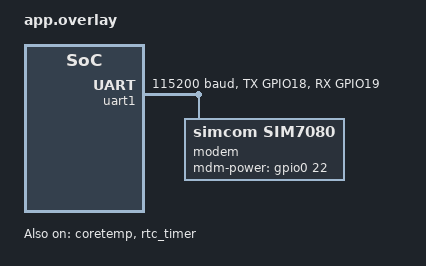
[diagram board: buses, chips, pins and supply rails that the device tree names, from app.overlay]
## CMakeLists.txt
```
# SPDX-License-Identifier: Apache-2.0
#
# Zephyr_A - Project A (Industrial IoT, Micro Technic)
# HP-core application for ESP32-C6-DevKitC.

cmake_minimum_required(VERSION 3.20.0)

find_package(Zephyr REQUIRED HINTS $ENV{ZEPHYR_BASE})
project(zephyr_a LANGUAGES C)

# One .c/.h pair per module (docs/02-arkitektur.md).
target_sources(app PRIVATE
    src/main.c
    src/device_info.c
    src/timesync.c
    src/sensor.c
    src/modbus.c
    src/app_logic.c
    src/sparkplug.c
    src/mqtt_client.c
    src/tls_ca.c
    src/network.c
    src/power.c
    src/health.c
    src/uplink.c
    src/soc_log.c
    src/security.c
    # Sparkplug B protobuf (nanopb), generated by scripts/gen_sparkplug_pb.py
    # from app/proto/sparkplug_b.proto and committed
    src/proto/sparkplug_b.pb.c
)

target_include_directories(app PRIVATE src common)

# Part 9: the LP-core image (app/remote, built first by sysbuild) is checked
# against this hash at boot (power.c).
if(CONFIG_APP_LPCORE)
  include(${CMAKE_CURRENT_SOURCE_DIR}/cmake/lp_image.cmake)
  zephyr_a_add_lp_image_hash(app
      ${CMAKE_BINARY_DIR}/../zephyr_a_lpcore/zephyr/zephyr.bin)
endif()

# Mbed TLS user configuration (CONFIG_MBEDTLS_USER_CONFIG_FILE) must be on the
# include path of the Mbed TLS library, not only of the app.
zephyr_include_directories(config)

# Trusted root CAs for the MQTT broker certificate (public certificates,
# see app/ca/README.md). Order = order of the TLS security tags.
include(${CMAKE_CURRENT_SOURCE_DIR}/cmake/ca_certs.cmake)
zephyr_a_add_ca_certs(app
    ${CMAKE_CURRENT_SOURCE_DIR}/ca/isrg-root-ye.der
    ${CMAKE_CURRENT_SOURCE_DIR}/ca/isrg-root-yr.der
    ${CMAKE_CURRENT_SOURCE_DIR}/ca/isrg-root-x2.der
    ${CMAKE_CURRENT_SOURCE_DIR}/ca/isrg-root-x1.der
)

# Part 10: client certificate + key (mTLS), selected by build.ps1 -Mtls
if(CONFIG_APP_MQTT_MTLS)
  include(${CMAKE_CURRENT_SOURCE_DIR}/cmake/client_cert.cmake)
  zephyr_a_add_client_cert(app ${CONFIG_APP_MQTT_CLIENT_CERT_FILE}
                               ${CONFIG_APP_MQTT_CLIENT_KEY_FILE})
endif()
```

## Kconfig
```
# Zephyr_A - application Kconfig
#
# Project-specific settings. Values are set in prj.conf (and secrets in
# secrets.conf). Thread priorities/stacks are documented in
# docs/02-arkitektur.md, section "Thread-tabel".
#
# SPDX-License-Identifier: Apache-2.0

menu "Zephyr_A application"

module = APP
module-str = Zephyr_A application
source "subsys/logging/Kconfig.template.log_config"

menu "Data acquisition"

config APP_SAMPLE_INTERVAL_MS
	int "Sampling interval [ms]"
	range 5000 15000
	default 10000
	help
	  Fixed sampling interval. The requirement allows 5-15 s; the range
	  makes it impossible to build a firmware outside the requirement.

config APP_BATCH_SIZE
	int "Samples per MQTT publish (batching)"
	range 1 12
	default 6
	help
	  Number of samples collected before one Sparkplug B DDATA message is
	  sent. 6 x 10 s = one message per minute. Must be <= APP_BATCH_MAX.

config APP_BATCH_MAX
	int
	default 12
	help
	  Compile-time capacity of struct sample_batch.

config APP_SAMPLE_QUEUE_LEN
	int "Length of the measurement queue (sensor -> app_logic)"
	default 16
	help
	  16 x 10 s = 160 s of buffering if app_logic is blocked.

config APP_SOURCE_DIE_TEMP
	bool "Read the ESP32-C6 internal temperature sensor (coretemp)"
	default y
	help
	  Uses the Zephyr sensor API on the devicetree node "coretemp"
	  (espressif,esp32-temp), channel SENSOR_CHAN_DIE_TEMP.

config APP_SENSOR_RETRY_DELAY_MS
	int "Delay before the single retry of a failed sensor read [ms]"
	default 20

config APP_SENSOR_SIMULATION
	bool "Generate simulated values (test without hardware)"
	help
	  All channels (internal temperature and Modbus registers) are
	  generated in software. No sensor or Modbus hardware is accessed, but
	  the rest of the chain (timer, queue, quality flags, retry/backoff)
	  runs exactly as with real hardware. Enable with
	  scripts\build.ps1 -Simulation (adds app/overlay-sim.conf).

config APP_SENSOR_SIM_FAULT_EVERY
	int "Simulate a read error every N-th cycle (0 = never)"
	depends on APP_SENSOR_SIMULATION
	default 0
	help
	  Makes the simulated Modbus transaction fail with -ETIMEDOUT in every
	  N-th cycle (and the internal temperature read with -EIO), to test
	  error logging, retry, backoff and the quality flag.

menuconfig APP_MODBUS_RTU
	bool "Modbus RTU client (RS485)"
	depends on MODBUS_ROLE_CLIENT || MODBUS_ROLE_CLIENT_SERVER || APP_SENSOR_SIMULATION
	help
	  Poll a Modbus RTU slave on the interface defined by the devicetree
	  node with compatible "zephyr,modbus-serial" (app/modbus-rtu.overlay).
	  The register table (address, function, scaling) is in modbus.c.
	  Enable with scripts\build.ps1 -ModbusRtu (adds app/overlay-modbus-rtu.conf).

if APP_MODBUS_RTU

config APP_MODBUS_SLAVE_ADDR
	int "Slave (unit) address"
	range 1 247
	default 1

config APP_MODBUS_BAUDRATE
	int "Baud rate"
	default 9600

choice APP_MODBUS_PARITY
	prompt "Parity"
	default APP_MODBUS_PARITY_EVEN
	help
	  Zephyr's RTU client is standard compliant: even/odd parity uses
	  1 stop bit, no parity uses 2 stop bits. The slave (e.g. ModbusTools
	  or Modbus Slave on the PC) must use the same setting.

config APP_MODBUS_PARITY_EVEN
	bool "Even (8E1) - Modbus default"

config APP_MODBUS_PARITY_ODD
	bool "Odd (8O1)"

config APP_MODBUS_PARITY_NONE
	bool "None (8N2)"

endchoice

config APP_MODBUS_RESP_TIMEOUT_MS
	int "Response timeout per request [ms]"
	default 300

config APP_MODBUS_RETRIES
	int "Retries per request after the first attempt"
	range 0 5
	default 2

config APP_MODBUS_RETRY_BACKOFF_MS
	int "Delay before the first retry [ms] (doubled for each retry)"
	default 100

config APP_MODBUS_MAX_SKIP_CYCLES
	int "Max number of sampling cycles skipped after repeated failures"
	default 8
	help
	  After n consecutive failed cycles the slave is not polled for
	  min(2^(n-1) - 1, this value) cycles (values are marked "stale").
	  This avoids filling the bus and the log while a slave is offline.

endif # APP_MODBUS_RTU

endmenu

menu "Sparkplug B"

config APP_SPARKPLUG_GROUP_ID
	string "Sparkplug group id"
	default "ProjektA"
	help
	  Topic: spBv1.0/<group_id>/<msg_type>/<edge_node_id>[/<device_id>].
	  The edge node id is derived from the hardware id (device_info).

config APP_SPARKPLUG_BATCH_QUEUE_LEN
	int "Batches waiting for the MQTT session (app_logic -> sparkplug)"
	default 24 if APP_UPLINK_INTERVAL
	default 4
	help
	  While MQTT is down, batches are kept here (not encoded) and sent
	  after the next BIRTH. 4 x 6 x 10 s = 4 minutes of data. Each slot is
	  one struct measurement_batch (~680 B). In interval mode (part 9) the
	  queue holds the data between two uplinks: 24 slots x 12 x 10 s = 48
	  minutes with overlay-lowpower.conf; an uplink starts early when the
	  queue is 3/4 full, so no data is lost.

config APP_SPARKPLUG_STATUS_INTERVAL_S
	int "NDATA with Status/RSSI, Status/Uptime, Status/MQTT Connects every N s (0 = never)"
	default 900
	help
	  About 60 B every 15 minutes. The same metrics are always in NBIRTH.

config APP_SPARKPLUG_REBOOT_MIN_UPTIME_S
	int "Reject NCMD Node Control/Reboot during the first N s after boot"
	default 60
	help
	  Reboot-loop protection: a faulty or compromised host application that
	  repeats the reboot command cannot keep the device from ever working
	  (availability, IEC 62443-4-2 CR 7.1). 0 = no limit.

config APP_SPARKPLUG_DEVICE_ID
	string "Sparkplug device id for the on-board sensors"
	default "sensors"

endmenu

menu "Cellular network"

config APP_NET_AUTOSTART
	bool "Bring the cellular link up automatically at boot"
	default y

config APP_NET_CONNECT_TIMEOUT_S
	int "Max time from modem start to a working IP link [s]"
	default 180
	help
	  Covers modem start-up, network search/registration (first
	  registration on LTE-M can take minutes), PPP and DNS. After the
	  timeout the modem is restarted with backoff.

config APP_NET_RECONNECT_GRACE_S
	int "Time the driver gets to re-establish a lost link before a restart [s]"
	default 60

config APP_NET_BACKOFF_MIN_S
	int "First backoff delay before restarting the modem [s]"
	default 30

config APP_NET_BACKOFF_MAX_S
	int "Max backoff delay [s] (delay doubles after each failure)"
	default 900

config APP_NET_STATUS_INTERVAL_S
	int "Interval for the periodic network status log while connected [s]"
	default 60

config APP_NET_CHECK_HOST
	string "Host used for the connectivity check (DNS lookup)"
	default APP_MQTT_BROKER_HOST
	help
	  After PPP is up the host name is resolved with DNS. This proves
	  that IP and DNS through the operator work.

config APP_NET_CHECK_PORT
	int "TCP port for the connectivity check (0 = DNS only)"
	default 80
	help
	  A TCP connect to this port of APP_NET_CHECK_HOST proves end-to-end
	  IP to the own server. 80 = nginx on the Webdock LEMP image. A
	  failed TCP connect is logged as a warning only (e.g. firewall).

config APP_NET_CMUX_RECOVERY
	bool "Send a CMUX close-down frame before starting the modem"
	default y
	help
	  The modem keeps its 5 V supply when the ESP32-C6 is reset (e.g. by
	  flashing) and may still be in CMUX mode. It then does not answer
	  plain AT commands and the driver's init script fails forever,
	  because the module has no PWRKEY/RESET pin. A 3GPP TS 27.010 CLD
	  frame returns it to AT command mode; in AT mode it is ignored.

endmenu

menu "Security (part 8)"

config APP_SECURITY_SAR_ENTROPY
	bool "Keep the SAR ADC entropy source of the hardware RNG enabled"
	default y
	depends on SOC_SERIES_ESP32C6
	help
	  Without Wi-Fi/BT/802.15.4 the ESP32-C6 RNG only produces true random
	  numbers while the SAR ADC noise source is enabled (Espressif "Random
	  Number Generation"). Zephyr enables it only while loading the image.
	  The application uses no ADC, so it stays enabled. Cost: the SAR ADC
	  runs continuously (measured in part 9).

endmenu

menu "Low power (part 9)"

choice APP_UPLINK_MODE
	prompt "When the cellular link is used"
	default APP_UPLINK_CONTINUOUS
	help
	  The modem is by far the largest consumer (docs/09-strom-data.md).
	  Measurements are taken every APP_SAMPLE_INTERVAL_MS in both modes.

config APP_UPLINK_CONTINUOUS
	bool "Continuous: modem and MQTT session always on"
	help
	  Data arrives in Node-RED every minute and NCMD commands take effect
	  at once. The modem stays registered, and the HP core cannot use
	  light sleep while the modem UART is active (no flow control, a byte
	  arriving during light sleep would be lost).

config APP_UPLINK_INTERVAL
	bool "Interval: modem on only for an uplink every APP_UPLINK_INTERVAL_S"
	help
	  Batches are kept in RAM. Every APP_UPLINK_INTERVAL_S (or when the
	  batch queue is 3/4 full) the modem is started, the MQTT/TLS session
	  is opened, NBIRTH/DBIRTH and all queued DDATA (with their original
	  timestamps, is_historical) are sent, the node says NDEATH and
	  disconnects cleanly, and the modem radio is switched off
	  (AT+CFUN=0). Between uplinks the HP core is in light sleep except for
	  the short measurements. NCMD is only received during an uplink.

endchoice

config APP_UPLINK_INTERVAL_S
	int "Interval between uplinks [s]"
	depends on APP_UPLINK_INTERVAL
	range 60 3600
	default 1800
	help
	  Trade-off: every uplink costs one full TLS handshake (~5 kB) plus
	  modem attach time, so very short intervals cost more data than
	  continuous mode; long intervals delay data and commands.

config APP_UPLINK_LINGER_S
	int "Stay connected this long after the queue is empty [s]"
	depends on APP_UPLINK_INTERVAL
	default 10
	help
	  Gives the host application time to send NCMD after it has seen the
	  NBIRTH (e.g. queued configuration changes).

config APP_UPLINK_TIMEOUT_S
	int "Give up an uplink after this time without success [s]"
	depends on APP_UPLINK_INTERVAL
	default 240
	help
	  Covers modem start, registration, PPP, SNTP, TLS and BIRTH. On a
	  timeout the modem is switched off again and the data stays queued
	  until the next uplink.

config APP_UPLINK_THREAD_PRIO
	int "Uplink thread priority"
	depends on APP_UPLINK_INTERVAL
	default 9

config APP_UPLINK_THREAD_STACK
	int "Uplink thread stack size"
	depends on APP_UPLINK_INTERVAL
	default 1536

config APP_POWER_LIGHT_SLEEP
	bool "Allow light sleep of the HP core when no UART transfer can happen"
	default y
	depends on PM
	help
	  Light sleep is allowed only while the modem is stopped and no
	  measurement is in progress (power.c sleep locks). In continuous mode
	  the modem always runs, so light sleep is in practice used only in
	  interval mode.

config APP_MODEM_RADIO_OFF
	bool "Switch the modem radio off (AT+CFUN=0) when the link is stopped"
	default y
	help
	  The SIM7080G on the M5Stack unit has no PWRKEY pin, so it cannot be
	  powered down and up again by the ESP32-C6. Minimum functionality
	  mode switches off RF and SIM. The driver sets AT+CFUN=1 again when
	  the modem is resumed.

config APP_MODEM_EDRX
	string "eDRX value for AT+CEDRXS (4-bit string, empty = eDRX off)"
	default ""
	help
	  Requested extended DRX cycle for LTE-M (3GPP TS 27.007, e.g. "0101"
	  = 81.92 s). Only useful in continuous mode; the network decides
	  whether it is granted. Commands from the server are then delayed by
	  up to one cycle. Empty: AT+CEDRXS=0.

config APP_LPCORE
	bool "Use the LP core (app/remote): deep-sleep wake-up and supervisor"
	default y
	depends on ESP32_ULP_COPROC_ENABLED
	help
	  The LP-core image (app/remote) is loaded by Zephyr at boot. power.c
	  sets up the memory shared with it (app/common/lp_shared.h).

config APP_LPCORE_WATCHDOG_S
	int "LP-core supervisor: reset the HP core after N s without a processed measurement (0 = off)"
	depends on APP_LPCORE
	range 0 3600
	default 120
	help
	  app_logic gives a heartbeat for every processed measurement (every
	  5-15 s). Must be clearly longer than the sample interval.

config APP_SLEEP_MIN_S
	int "Shortest deep sleep accepted from NCMD Node Control/Sleep [s]"
	default 60

config APP_SLEEP_MAX_S
	int "Longest deep sleep accepted from NCMD Node Control/Sleep [s]"
	default 86400

endmenu

menu "Health: task watchdog (part 10)"

config APP_HEALTH
	bool "Task watchdog for the application threads"
	default y
	select TASK_WDT
	help
	  Every application thread has a task watchdog channel; the time a
	  thread is busy between two waits must stay below
	  APP_HEALTH_TIMEOUT_S, otherwise the chip is reset and the stuck
	  thread is reported at the next boot (health.h). The hardware
	  watchdog wdt0 (alias watchdog0) is the fallback for a stuck kernel.

config APP_HEALTH_TIMEOUT_S
	int "Longest time a thread may be busy without feeding [s]"
	depends on APP_HEALTH
	range 30 3600
	default 180
	help
	  Longest legitimate busy phases: modem suspend (up to 30 s in the
	  driver), DNS + TLS handshake + CONNACK over LTE-M (up to ~70 s),
	  a Modbus read with retries. 180 s leaves margin.

# One task watchdog channel per thread (health.h), plus spare
config TASK_WDT_CHANNELS
	default 8 if APP_HEALTH

config APP_HEALTH_REBOOT
	bool "Reset the chip when a thread is stuck"
	depends on APP_HEALTH
	default y
	help
	  Disable only in tests: the timeout is then counted and logged.

endmenu

menu "Time synchronisation (SNTP)"

config APP_TIMESYNC_SERVER1
	string "First SNTP server (host[:port])"
	default "pool.ntp.org"

config APP_TIMESYNC_SERVER2
	string "Second SNTP server, tried if the first fails (empty = none)"
	default "time.cloudflare.com"

config APP_TIMESYNC_TIMEOUT_MS
	int "Timeout per SNTP request [ms]"
	default 4000
	help
	  One UDP request/response (96 B in total) over LTE-M. A cold radio
	  link can need more than one second for the first packet.

config APP_TIMESYNC_RESYNC_H
	int "Resynchronise every N hours (0 = only at start-up)"
	default 24
	help
	  The ESP32-C6 crystal drifts by a few seconds per day at most, so one
	  SNTP request per day (96 B) is enough for 1-second timestamps.

endmenu

menu "Cloud / MQTT"

config APP_MQTT_BROKER_HOST
	string "MQTT broker host name"
	default "zephyra.vps.webdock.cloud"
	help
	  Resolved with DNS and also used for the TLS host name check: the
	  broker certificate must contain this name (subjectAltName).

config APP_MQTT_BROKER_PORT
	int "MQTT broker port (TLS)"
	default 8884 if APP_MQTT_MTLS
	default 8883
	help
	  8883: user name + password. 8884: client certificate (mTLS,
	  part 10, cloud/mosquitto/zephyr_a_mtls.conf).

config APP_MQTT_MTLS
	bool "Authenticate with a client certificate instead of a password (mTLS)"
	help
	  The device proves its identity with an ECDSA P-256 key and a
	  certificate (CN = device id) issued by the own device CA
	  (scripts/device_pki.py). Mosquitto uses the CN as user name, so the
	  existing ACL applies unchanged. No password is sent or stored.
	  Enabled by scripts/build.ps1 -Mtls (writes certs/mtls.conf).

config APP_MQTT_CLIENT_CERT_FILE
	string "Client certificate (DER)"
	depends on APP_MQTT_MTLS
	help
	  Absolute path, e.g. certs/device-pki/devices/<id>.crt.der.

config APP_MQTT_CLIENT_KEY_FILE
	string "Client private key (PKCS#8 DER)"
	depends on APP_MQTT_MTLS
	help
	  Absolute path, e.g. certs/device-pki/devices/<id>.key.der. Secret:
	  stays in certs/ (ignored by git) and the build directory.

config APP_MQTT_CLIENT_SEC_TAG
	int "TLS security tag of the client certificate and key"
	depends on APP_MQTT_MTLS
	default 99

config APP_MQTT_USERNAME
	string "MQTT user name (empty = device id)"
	default ""
	help
	  Empty: the device id (e.g. esp32c6-14c19fe0ab24) is used. The broker
	  ACL (cloud/mosquitto/acl) only lets a client publish below its own
	  user name, so the user name must be the Sparkplug edge node id.

config APP_MQTT_PASSWORD
	string "MQTT password (set in secrets.conf)"
	default ""
	help
	  Set only in app/secrets.conf (ignored by git). The client refuses to
	  start without a password (or mTLS): the broker has no anonymous
	  access. Not used with APP_MQTT_MTLS.

config APP_MQTT_KEEPALIVE_S
	int "MQTT keep-alive [s]"
	range 60 3600
	default 1200
	help
	  Long keep-alive = fewer PINGREQ packets = less data and less radio-on
	  time. Data is published every minute anyway, which also counts as
	  activity. Mosquitto disconnects a client after 1.5 x keep-alive
	  without traffic. Tuned in the low-power part.

config APP_MQTT_PINGRESP_TIMEOUT_S
	int "Max wait for PINGRESP before the connection is considered dead [s]"
	default 30

config APP_MQTT_CONNACK_TIMEOUT_S
	int "Max wait for CONNACK after the TLS handshake [s]"
	default 30

config APP_MQTT_BACKOFF_MIN_S
	int "First reconnect delay [s]"
	default 10

config APP_MQTT_BACKOFF_MAX_S
	int "Max reconnect delay [s] (delay doubles after each failure)"
	default 600
	help
	  Errors that will not go away by themselves (wrong password, ACL,
	  certificate verification) jump directly to this delay, so a
	  misconfigured device does not burn data with TLS handshakes.

config APP_MQTT_STABLE_S
	int "A connection must last this long before the backoff is reset [s]"
	default 60
	help
	  Prevents fast reconnect loops when the broker accepts the
	  connection but closes it right away (e.g. ACL or duplicate id).

config APP_MQTT_TX_QUEUE_LEN
	int "Publish queue length (messages)"
	default 4
	help
	  Messages wait here while the link is down. The payload buffer pool
	  has one block more than the queue (one block is being encoded).

config APP_MQTT_TLS_SEC_TAG_BASE
	int "First TLS security tag used for the CA certificates"
	default 100
	help
	  Each trusted root CA (app/ca/*.der) gets its own tag, starting here.

endmenu

menu "Threads"

config APP_SENSOR_THREAD_PRIO
	int "Sensor thread priority"
	default 4

config APP_SENSOR_THREAD_STACK
	int "Sensor thread stack size"
	default 1536

config APP_NETWORK_THREAD_PRIO
	int "Network thread priority"
	default 5

config APP_NETWORK_THREAD_STACK
	int "Network thread stack size"
	default 2048

config APP_MQTT_THREAD_PRIO
	int "MQTT thread priority"
	default 6

config APP_MQTT_THREAD_STACK
	int "MQTT thread stack size"
	default 8192
	help
	  The TLS handshake (Mbed TLS: certificate chain verification with
	  ECDSA P-384 / RSA-4096, ECDHE) runs in this thread. The thread logs
	  its peak stack use after the first connect (part 6 measurement).

config APP_LOGIC_THREAD_PRIO
	int "App logic thread priority"
	default 7

config APP_LOGIC_THREAD_STACK
	int "App logic thread stack size"
	default 1536

config APP_SPARKPLUG_THREAD_PRIO
	int "Sparkplug thread priority"
	default 8

config APP_SPARKPLUG_THREAD_STACK
	int "Sparkplug thread stack size"
	default 4096
	help
	  nanopb encoding (one Metric struct of 148 B at a time, callbacks) and
	  the index list of a batch (up to 48 values).

endmenu

endmenu

source "Kconfig.zephyr"
```

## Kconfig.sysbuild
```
# Zephyr_A - sysbuild Kconfig
#
# Sysbuild builds several images in one go: the MCUboot bootloader (default
# for esp32c6_devkitc), the HP-core application and the LP-core image in
# remote/ (part 9).
#
# SPDX-License-Identifier: Apache-2.0

source "share/sysbuild/Kconfig"

config ULP_REMOTE_BOARD
	string
	default "esp32c6_devkitc/esp32c6/lpcore" if $(BOARD) = "esp32c6_devkitc"
	help
	  Board target of the LP-core image (app/remote), as in Zephyr's
	  samples/boards/espressif/ulp/lp_core/*.
```

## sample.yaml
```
sample:
  name: Zephyr_A Project A (ESP32-C6 cellular IIoT node)
  description: >
    ESP32-C6-DevKitC node that collects data and publishes Sparkplug B over
    MQTT/TLS via a cellular modem to a self-hosted server.
tests:
  zephyr_a.build:
    platform_allow:
      - esp32c6_devkitc/esp32c6/hpcore
    integration_platforms:
      - esp32c6_devkitc/esp32c6/hpcore
    sysbuild: true
    build_only: true
    # Project board has 4 MB flash (board default is 8 MB), see docs/hardware.md
    extra_args:
      - SNIPPET=espressif-flash-4M
    tags:
      - iiot
```

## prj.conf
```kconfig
# Zephyr_A - Kconfig for the HP-core application
# Part 6: data acquisition + cellular network (SIM7080G, CMUX, PPP) + MQTT over TLS.

# --- C standard -----------------------------------------------------------
# Project requirement: compatible with at least C17 (also the 4.4.0 default,
# set explicitly so the requirement is visible in the configuration).
CONFIG_STD_C17=y

# --- Logging --------------------------------------------------------------
CONFIG_LOG=y
# Deferred mode: log calls only queue the message, a low-priority thread
# prints it. Keeps timing-critical threads (modem, MQTT) fast.
CONFIG_LOG_MODE_DEFERRED=y
CONFIG_LOG_DEFAULT_LEVEL=3
# Log level of all Zephyr_A modules (app/Kconfig, LOG_MODULE_REGISTER(..., CONFIG_APP_LOG_LEVEL))
CONFIG_APP_LOG_LEVEL_INF=y
CONFIG_LOG_BACKEND_UART=y
# Prefix log lines with a timestamp formatted as hh:mm:ss.ms
CONFIG_LOG_TIMESTAMP_64BIT=y
CONFIG_LOG_BACKEND_FORMAT_TIMESTAMP=y
# Colour codes look bad in some Windows terminals; keep the output plain.
CONFIG_LOG_BACKEND_SHOW_COLOR=n

# Print "*** Booting Zephyr OS build ... ***" banner at startup
CONFIG_BOOT_BANNER=y

# --- Hardware info (device id derived from the factory MAC in eFuse) -------
CONFIG_HWINFO=y

# --- Robustness -----------------------------------------------------------
CONFIG_ASSERT=n
CONFIG_STACK_SENTINEL=y
# Compiler stack protector (-fstack-protector): a random canary detects stack
# buffer overflows before a function returns (part 8, IEC 62443-4-2 CR 3.x)
CONFIG_STACK_CANARIES=y
# Stack use measurement (mqtt thread logs its peak use after the TLS handshake)
CONFIG_INIT_STACKS=y
CONFIG_THREAD_STACK_INFO=y

# --- Kernel ----------------------------------------------------------------
# k_poll(): app_logic waits on the measurement queue and the command queue
CONFIG_POLL=y

# --- Data acquisition ------------------------------------------------------
# Sensor API for the internal temperature sensor (devicetree: &coretemp)
CONFIG_SENSOR=y

# --- Cellular modem (Zephyr modem_cellular, compatible simcom,sim7080) -------
CONFIG_MODEM=y
CONFIG_MODEM_CELLULAR=y
# Onomondo SIM: the APN is always "onomondo", no user/password, no PIN
CONFIG_MODEM_CELLULAR_APN="onomondo"
# Modem UART (uart1) is interrupt-driven (modem backend uart_isr)
CONFIG_SERIAL=y
CONFIG_UART_INTERRUPT_DRIVEN=y
# Resume/suspend of the modem through the PM device API
CONFIG_PM_DEVICE=y
# Own workqueue for CMUX/PPP/chat so other system work cannot delay it
CONFIG_MODEM_DEDICATED_WORKQUEUE=y
CONFIG_MODEM_MODULES_LOG_LEVEL_WRN=y

# --- Networking: IPv4 over PPP ---------------------------------------------
CONFIG_NETWORKING=y
CONFIG_NET_NATIVE=y
CONFIG_NET_L2_PPP=y
CONFIG_NET_IPV4=y
CONFIG_NET_IPV6=n
CONFIG_NET_TCP=y
CONFIG_NET_UDP=y
CONFIG_NET_SOCKETS=y
# DNS servers are learned from the operator via PPP (IPCP)
CONFIG_DNS_RESOLVER=y
CONFIG_NET_L2_PPP_OPTION_DNS_USE=y
# PPP announces a primary and a secondary DNS server
CONFIG_DNS_RESOLVER_MAX_SERVERS=2
# Cellular round-trip times are long (and the first query wakes the radio)
CONFIG_NET_SOCKETS_DNS_TIMEOUT=10000
# zsock_getaddrinfo() allocates its result with k_calloc() -> kernel heap
# (default 0 in this configuration, which would make every lookup fail)
CONFIG_HEAP_MEM_POOL_SIZE=4096
# L4 connected/disconnected events from the connection manager
CONFIG_NET_MGMT=y
CONFIG_NET_MGMT_EVENT=y
CONFIG_NET_MGMT_EVENT_INFO=y
CONFIG_NET_CONNECTION_MANAGER=y
# TCP connect timeout for the connectivity check [ms] (cellular RTT is high)
CONFIG_NET_SOCKETS_CONNECT_TIMEOUT=10000
CONFIG_NET_LOG=y
CONFIG_NET_IF_LOG_LEVEL_WRN=y

# >>> mqtt-tls  (this block is also used by app/tests/mqtt_tls - keep markers)
# --- MQTT 3.1.1 over TLS (docs/06-mqtt-tls.md) -------------------------------
CONFIG_MQTT_LIB=y
CONFIG_MQTT_LIB_TLS=y
CONFIG_MQTT_CLEAN_SESSION=y
CONFIG_NET_SOCKETS_SOCKOPT_TLS=y
CONFIG_TLS_CREDENTIALS=y
# One security tag per trusted root CA (4 files in app/ca) plus, with mTLS
# (part 10), one tag holding the client certificate and its private key:
# 4 + 2 = 6 credentials, 5 tags per socket.
CONFIG_TLS_MAX_CREDENTIALS_NUMBER=6
CONFIG_NET_SOCKETS_TLS_MAX_CREDENTIALS=5
# Handshake over LTE-M: several round trips of 100-500 ms + chain verification
CONFIG_NET_SOCKETS_TLS_CONNECT_TIMEOUT=30000
# eventfd: wakes the mqtt thread from zsock_poll() when a message is queued
CONFIG_ZVFS_EVENTFD=y
CONFIG_ZVFS_EVENTFD_MAX=2

# --- Mbed TLS 4.1 + TF-PSA-Crypto --------------------------------------------
CONFIG_MBEDTLS=y
CONFIG_MBEDTLS_PSA_CRYPTO_C=y
# Random numbers for TLS from the ESP32-C6 hardware RNG (zephyr,entropy)
CONFIG_ENTROPY_GENERATOR=y
CONFIG_MBEDTLS_ENABLE_HEAP=y
# Peak measured in part 6: 32-37 kB (native_sim, 64-bit pointers; 4 trusted
# roots + RSA-4096 chain). The allocator fragments, and 40 kB was NOT enough:
# an allocation failure during chain verification shows up as -0x2700
# "not trusted". 56 kB gives ~50 % margin (docs/06-mqtt-tls.md, section 6).
CONFIG_MBEDTLS_HEAP_SIZE=57344
# Input record buffer: must hold the whole server certificate chain
# (Let's Encrypt Generation Y: 4 certificates, 3-4.5 kB). The output buffer
# is reduced to 2 kB in config/zephyr_a_mbedtls_user.h.
CONFIG_MBEDTLS_SSL_MAX_CONTENT_LEN=8192
CONFIG_MBEDTLS_USER_CONFIG_FILE="zephyr_a_mbedtls_user.h"
# TLS 1.3 (preferred: 1 round trip handshake) and TLS 1.2 as fallback.
# Mosquitto is configured with tls_version tlsv1.2 = minimum 1.2.
CONFIG_MBEDTLS_CIPHERSUITE_TLS1_3_AES_128_GCM_SHA256=y
CONFIG_MBEDTLS_SSL_TLS1_3_KEY_EXCHANGE_MODE_EPHEMERAL_ENABLED=y
CONFIG_MBEDTLS_CIPHERSUITE_TLS_ECDHE_ECDSA_WITH_AES_128_GCM_SHA256=y
CONFIG_MBEDTLS_CIPHERSUITE_TLS_ECDHE_RSA_WITH_AES_128_GCM_SHA256=y
CONFIG_MBEDTLS_SSL_EXTENDED_MASTER_SECRET=y
# Certificate chain verification: ECDSA chains (leaf P-256, YE/X2 P-384,
# SHA-384 signatures) and RSA chains (YR/X1 RSA-4096). Which one the server
# uses depends on the key type certbot chose on the VPS (30-certs.sh shows it).
CONFIG_PSA_WANT_ECC_SECP_R1_256=y
CONFIG_PSA_WANT_ECC_SECP_R1_384=y
CONFIG_PSA_WANT_ALG_SHA_256=y
CONFIG_PSA_WANT_ALG_SHA_384=y
CONFIG_PSA_WANT_ALG_ECDSA=y
CONFIG_PSA_WANT_KEY_TYPE_ECC_PUBLIC_KEY=y
CONFIG_PSA_WANT_ALG_RSA_PKCS1V15_SIGN=y
CONFIG_PSA_WANT_ALG_RSA_PSS=y
CONFIG_PSA_WANT_KEY_TYPE_RSA_PUBLIC_KEY=y
# TLS 1.3 with an RSA server certificate needs RSA-PSS signatures
# (rsa_pss_rsae_sha256). Without this symbol Mbed TLS does not offer them
# and OpenSSL aborts: "no suitable signature algorithm" (found in part 6).
# Mbed TLS 4.1 also requires RSA-OAEP for this symbol (mbedtls_check_config.h);
# Zephyr's Kconfig does not express that dependency.
CONFIG_MBEDTLS_X509_RSASSA_PSS_SUPPORT=y
CONFIG_PSA_WANT_ALG_RSA_OAEP=y
# Certificate validity dates are checked (part 7). Mbed TLS reads time()
# = SYS_CLOCK_REALTIME, which timesync sets from SNTP; the network thread
# only reports the link as up after the first successful sync.
CONFIG_MBEDTLS_HAVE_TIME_DATE=y
# <<< mqtt-tls

# --- Time sync (SNTP, part 7) -------------------------------------------------
CONFIG_SNTP=y

# --- Sparkplug B (part 7): nanopb protobuf runtime ----------------------------
# Generated code: app/src/proto (from app/proto/sparkplug_b.proto)
CONFIG_NANOPB=y
# Reboot command (NCMD "Node Control/Reboot")
CONFIG_REBOOT=y

# --- Software bill of materials (part 8, CRA Annex I part II) -----------------
# zephyr.meta (module/git revisions) is required by "west spdx"
# (scripts\build.ps1 -Sbom)
CONFIG_BUILD_OUTPUT_META=y

# --- Low power (part 9, docs/09-strom-data.md) --------------------------------
# Light sleep of the HP core in the idle thread (power state "standby", woken
# by the RTC timer enabled in app.overlay). power.c forbids it while the
# modem UART or a measurement is active.
CONFIG_PM=y
CONFIG_COUNTER=y
# Deep sleep (sys_poweroff) for NCMD "Node Control/Sleep"
CONFIG_POWEROFF=y
# LP core: app/remote is loaded at boot and runs every second on the LP timer
CONFIG_ESP32_ULP_COPROC_ENABLED=y
CONFIG_ESP32_ULP_LP_CORE_WAKEUP_SOURCE_LP_TIMER=y
CONFIG_ESP32_ULP_LP_CORE_LP_TIMER_SLEEP_DURATION_US=1000000
# LP image integrity check: hash of the LP partition (flash map + PSA SHA-256)
CONFIG_FLASH=y
CONFIG_FLASH_MAP=y

# --- Task watchdog (part 10, health.c) -----------------------------------------
# Zephyr task watchdog, hardware fallback = TIMG0 watchdog (alias watchdog0).
# The task watchdog feeds the hardware every 10 s; if that stops for 15 s
# (interrupts off, kernel stuck), the hardware watchdog resets the chip.
# 10 s keeps the extra light-sleep wake-ups at the measurement rate.
CONFIG_WATCHDOG=y
CONFIG_TASK_WDT_MIN_TIMEOUT=10000
CONFIG_TASK_WDT_HW_FALLBACK_DELAY=5000

# --- Application (app/Kconfig) ---------------------------------------------
CONFIG_APP_SAMPLE_INTERVAL_MS=10000
CONFIG_APP_BATCH_SIZE=6
CONFIG_APP_SOURCE_DIE_TEMP=y
```

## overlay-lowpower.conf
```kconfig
# Zephyr_A - low-power variant (part 9, scripts\build.ps1 -LowPower).
#
# Interval uplink: the modem is on only for an uplink every 30 minutes, light
# sleep between the measurements (still every 10 s). Values measured and
# reasoned in docs/09-strom-data.md, section 5.
CONFIG_APP_UPLINK_INTERVAL=y
CONFIG_APP_UPLINK_INTERVAL_S=1800
# 12 measurements (2 minutes) per DDATA: half the per-message overhead
# (topic, MQTT, TLS record, TCP/IP) compared with 6
CONFIG_APP_BATCH_SIZE=12
# DNS check only: the TCP connect to port 80 costs ~250 B and radio time on
# every uplink, and the MQTT/TLS connect right after it proves the same
CONFIG_APP_NET_CHECK_PORT=0
```

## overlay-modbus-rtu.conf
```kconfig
# Zephyr_A - Modbus RTU variant (RS485 on UART0, console on USB Serial/JTAG)
# Used by: .\scripts\build.ps1 -ModbusRtu   (adds app/modbus-rtu.overlay)
# Design: docs/02-arkitektur.md section 6.3, test: docs/03-dataopsamling.md

# Zephyr Modbus subsystem, client (master) role, serial line
CONFIG_SERIAL=y
CONFIG_UART_INTERRUPT_DRIVEN=y
CONFIG_GPIO=y
CONFIG_MODBUS=y
CONFIG_MODBUS_ROLE_CLIENT=y
CONFIG_MODBUS_LOG_LEVEL_WRN=y

# Application settings (app/Kconfig) - must match the slave / simulator
CONFIG_APP_MODBUS_RTU=y
CONFIG_APP_MODBUS_SLAVE_ADDR=1
CONFIG_APP_MODBUS_BAUDRATE=9600
CONFIG_APP_MODBUS_PARITY_EVEN=y
CONFIG_APP_MODBUS_RESP_TIMEOUT_MS=300
CONFIG_APP_MODBUS_RETRIES=2
CONFIG_APP_MODBUS_RETRY_BACKOFF_MS=100
CONFIG_APP_MODBUS_MAX_SKIP_CYCLES=8
```

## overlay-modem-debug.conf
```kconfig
# Zephyr_A - modem debug variant (troubleshooting registration/PPP)
# Used by: .\scripts\build.ps1 -ModemDebug
#
# Adds a shell on the console with Zephyr's modem AT shell (it sends the
# command on a separate CMUX channel, so it works while PPP is up):
#   uart:~$ modem at AT+CSQ           signal quality (rssi,ber)
#   uart:~$ modem at AT+CPSI?         serving cell: LTE CAT-M1 / NB-IOT, band, operator
#   uart:~$ modem at AT+COPS?         operator
#   uart:~$ modem at AT+CEREG?        LTE registration (1 = home, 5 = roaming)
#   uart:~$ modem at AT+CGDCONT?      PDP context / APN
#   uart:~$ net iface                 PPP interface and IP address
#   uart:~$ net dns query zephyra.vps.webdock.cloud A
# plus DEBUG logs from the modem modules (chat, CMUX, PPP) - very verbose.

CONFIG_SHELL=y
CONFIG_SHELL_WILDCARD=n
CONFIG_MODEM_AT_SHELL=y
CONFIG_NET_SHELL=y
CONFIG_MODEM_STATS=y
CONFIG_MODEM_MODULES_LOG_LEVEL_DBG=y
CONFIG_LOG_BUFFER_SIZE=8192
```

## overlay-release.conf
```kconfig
# Zephyr_A - release variant (part 8): smallest attack surface
# Used by: .\scripts\build.ps1 -Release   (cannot be combined with the debug variants)
#
# The standard build already has no shell and no TLS debug. The release
# build additionally removes debug aids an attacker with physical access to
# the USB port could use, and keeps the log at warnings for system modules.

# No interactive console commands of any kind
CONFIG_SHELL=n
CONFIG_MBEDTLS_DEBUG=n
CONFIG_MBEDTLS_SHELL=n
# System modules (net, modem, mqtt library ...): warnings and errors only.
# The app modules keep INF (measurements, state changes, security events).
CONFIG_LOG_DEFAULT_LEVEL=2
CONFIG_APP_LOG_LEVEL_INF=y
# Stack painting is only needed for the stack measurements (part 6/9)
CONFIG_INIT_STACKS=n
# Thread names are useful for an attacker reading memory, not needed in the field
CONFIG_THREAD_NAME=n
```

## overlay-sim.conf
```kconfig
# Zephyr_A - simulation variant (test without sensor/Modbus hardware)
# Used by: .\scripts\build.ps1 -Simulation
#
# All channels are generated in software: internal temperature (triangle
# 22-25 °C) and - together with -ModbusRtu - two simulated Modbus registers.
# The timer, the message queue, batching, quality flags and the Modbus
# retry/backoff logic run exactly as with real hardware.

CONFIG_APP_SENSOR_SIMULATION=y

# Inject a read error every 5th cycle to exercise LOG_ERR, retry, backoff
# and QUALITY_BAD/STALE. Set to 0 for clean simulated data.
CONFIG_APP_SENSOR_SIM_FAULT_EVERY=5
```

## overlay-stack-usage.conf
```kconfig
# Zephyr_A - measure stack usage on the hardware (part 11).
#   .\scripts\build.ps1 -ExtraConf app\overlay-stack-usage.conf
#
# Every 5 minutes the thread analyzer logs, per thread, how much of its stack
# has ever been used (stacks are filled with a pattern at creation), plus
# the interrupt stack. Run through the worst cases (boot, modem start, TLS
# handshake, NBIRTH, NCMD, link loss) and copy the numbers into
# docs/11-afslutning.md section 2.4. Not for normal builds: filling and
# scanning the stacks costs time and RAM for the analyzer.
CONFIG_THREAD_ANALYZER=y
CONFIG_THREAD_ANALYZER_USE_LOG=y
CONFIG_THREAD_ANALYZER_AUTO=y
CONFIG_THREAD_ANALYZER_AUTO_INTERVAL=300
CONFIG_THREAD_ANALYZER_ISR_STACK_USAGE=y
CONFIG_THREAD_NAME=y
CONFIG_INIT_STACKS=y
```

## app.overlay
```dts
/*
 * Zephyr_A - devicetree overlay for esp32c6_devkitc/esp32c6/hpcore
 *
 * All deviations from the board devicetree
 * (zephyr/boards/espressif/esp32c6_devkitc/esp32c6_devkitc_hpcore.dts)
 * are made here and documented in docs/hardware.md.
 *
 * Console stays on UART0 (GPIO16 TX / GPIO17 RX),
 * which is wired to the USB-to-UART bridge on the "UART" USB-C port.
 *
 * Flash size (4 MB instead of the board's 8 MB) is set with the official
 * snippet espressif-flash-4M (scripts/build.ps1), not in this file.
 *
 * Part 4 (cellular): see docs/04-netvaerk.md.
 *
 * Modbus RTU variant (RS485 on UART0, console on USB Serial/JTAG): see
 * app/modbus-rtu.overlay, used by scripts\build.ps1 -ModbusRtu.
 *
 * SPDX-License-Identifier: Apache-2.0
 */

/ {
	aliases {
		modem = &modem;
	};
};

/* Part 3: enable the internal temperature sensor (disabled in the SoC dtsi).
 * Read with the Zephyr sensor API, channel SENSOR_CHAN_DIE_TEMP.
 */
&coretemp {
	status = "okay";
};

/* Part 4: UART1 for the M5Stamp CAT-M (SIMCom SIM7080G), 115200 8N1.
 *   ESP32-C6 GPIO18 (UART1 TX) -> module RX
 *   ESP32-C6 GPIO19 (UART1 RX) <- module TX
 * No RTS/CTS lines are connected (the module has none on its header).
 * The pull-up on RX keeps the line idle-high while the modem starts.
 */
&pinctrl {
	uart1_default: uart1_default {
		group1 {
			pinmux = <UART1_TX_GPIO18>;
			output-high;
		};

		group2 {
			pinmux = <UART1_RX_GPIO19>;
			bias-pull-up;
		};
	};
};

&uart1 {
	status = "okay";
	current-speed = <115200>;
	pinctrl-0 = <&uart1_default>;
	pinctrl-names = "default";

	/* Zephyr's generic cellular driver (drivers/modem/modem_cellular.c),
	 * SIM7080 variant: CMUX + PPP, chat scripts for SIMCom SIM7080.
	 */
	modem: modem {
		compatible = "simcom,sim7080";
		status = "okay";

		/* The module has NO PWRKEY pin: it powers on by itself when it gets
		 * 5 V. "autostarts" tells the driver not to pulse a power key on
		 * resume, but to wait for the modem to be ready.
		 *
		 * The simcom,sim7080 binding still REQUIRES mdm-power-gpios. GPIO22
		 * is a placeholder and must NOT be connected to anything. The driver
		 * only pulses it on suspend/recovery, which has no effect.
		 */
		autostarts;
		mdm-power-gpios = <&gpio0 22 GPIO_ACTIVE_HIGH>;
	};
};

/* Part 9: light sleep. The RTC timer wakes the HP core from light sleep
 * (power state "standby") in time for the next kernel timeout, e.g. the
 * next measurement (Zephyr 4.4.0 samples/boards/espressif/light_sleep).
 */
&rtc_timer {
	status = "okay";
	wakeup-source;
};

/* Part 9: memory shared with the LP core (app/common/lp_shared.h). The last
 * 64 B of the LP SRAM area reserved for the LP image (ulp_ram) are given to
 * app_lp_shm. app/remote/boards/esp32c6_devkitc_lpcore.overlay makes the
 * same change, so both images agree on the address (0x50003bc0).
 */
&ulp_ram {
	reg = <0x0 0x3bc0>;
};

&sramlp {
	app_lp_shm: memory@3bc0 {
		compatible = "mmio-sram";
		reg = <0x3bc0 0x40>;
	};
};
```

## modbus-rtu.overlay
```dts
/*
 * Zephyr_A - Modbus RTU variant: RS485 on UART0, console on USB Serial/JTAG
 *
 * Used together with app.overlay by scripts\build.ps1 -ModbusRtu.
 * Decision and reasoning: docs/02-arkitektur.md section 6.3.
 * Deviations are listed in docs/hardware.md.
 *
 * Deviations from the board devicetree:
 *   1. Console + shell moved from uart0 to usb_serial (the "USB" USB-C port).
 *      The ROM bootloader and MCUboot still print on the "UART" port.
 *   2. uart0 re-routed from GPIO16/17 (USB-UART bridge) to
 *      GPIO20 (TX -> transceiver DI) / GPIO21 (RX <- transceiver RO).
 *   3. Modbus serial node on uart0 with driver-enable on GPIO23
 *      (-> DE and /RE tied together on a MAX3485-type transceiver).
 *      Remove de-gpios for transceivers with automatic direction control.
 *
 * SPDX-License-Identifier: Apache-2.0
 */

/ {
	chosen {
		zephyr,console = &usb_serial;
		zephyr,shell-uart = &usb_serial;
	};
};

&usb_serial {
	status = "okay";
};

&pinctrl {
	uart0_rs485: uart0_rs485 {
		group1 {
			pinmux = <UART0_TX_GPIO20>;
			output-high;
		};

		group2 {
			pinmux = <UART0_RX_GPIO21>;
			bias-pull-up;
		};
	};
};

&uart0 {
	pinctrl-0 = <&uart0_rs485>;
	pinctrl-names = "default";
	current-speed = <9600>;
	status = "okay";

	modbus0 {
		compatible = "zephyr,modbus-serial";
		status = "okay";
		/* DE and /RE of the transceiver connected together: high = transmit */
		de-gpios = <&gpio0 23 GPIO_ACTIVE_HIGH>;
	};
};
```

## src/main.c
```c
/*
 * Zephyr_A - Project A (Industrial IoT, Micro Technic)
 *
 * main: initialises all modules in dependency order and starts their
 * threads. main itself owns no data and does no periodic work once the
 * module threads run (see docs/02-arkitektur.md).
 *
 * Modules whose start function returns -ENOSYS are not implemented yet.
 * Since part 7 every module runs: sensor -> app_logic -> sparkplug -> mqtt,
 * network (cellular + SNTP time). main returns after start-up (its thread
 * ends, the module threads keep running).
 *
 * SPDX-License-Identifier: Apache-2.0
 */

#include <errno.h>

#include <zephyr/kernel.h>
#include <zephyr/logging/log.h>
#include <zephyr/version.h>

#include "app_logic.h"
#include "device_info.h"
#include "mqtt_client.h"
#include "network.h"
#include "power.h"
#include "sensor.h"
#include "sparkplug.h"
#include "security.h"
#include "health.h"
#include "timesync.h"
#include "uplink.h"

LOG_MODULE_REGISTER(app_main, CONFIG_APP_LOG_LEVEL);

struct module {
	const char *name;
	int (*init)(void);
	int (*start)(void);
};

/* Order matters: device id before sparkplug topics, config before sensor,
 * consumers (app_logic, sparkplug, mqtt) before producers (sensor).
 */
static const struct module modules[] = {
	{"power", app_power_init, NULL},
	{"health", health_init, NULL}, /* task watchdog (part 10) */
	{"security", app_security_init, NULL}, /* RNG entropy before any TLS */
	{"timesync", timesync_init, NULL},
	{"app_logic", app_logic_init, app_logic_start},
	{"sparkplug", sparkplug_init, sparkplug_start},
	{"mqtt", app_mqtt_init, app_mqtt_start},
	{"network", network_init, network_start},
	{"uplink", uplink_init, uplink_start}, /* interval mode only (part 9) */
	{"sensor", app_sensor_init, app_sensor_start},
};

static void init_and_start_modules(void)
{
	for (size_t i = 0; i < ARRAY_SIZE(modules); i++) {
		int ret = modules[i].init();

		if ((ret != 0) && (ret != -ENOTSUP)) {
			LOG_ERR("%s: init failed (%d)", modules[i].name, ret);
			continue;
		}
		if (ret == -ENOTSUP) {
			LOG_INF("%s: not used in this build", modules[i].name);
			continue;
		}
		if (modules[i].start == NULL) {
			continue;
		}

		ret = modules[i].start();
		if (ret == -ENOSYS) {
			LOG_INF("%s: skeleton (not implemented yet)", modules[i].name);
		} else if (ret != 0) {
			LOG_ERR("%s: start failed (%d)", modules[i].name, ret);
		}
	}
}

int main(void)
{
	LOG_INF("boot");
	LOG_INF("Zephyr version: %s, board %s", KERNEL_VERSION_STRING, CONFIG_BOARD_TARGET);

	(void)device_info_init();
	init_and_start_modules();

	LOG_INF("Start-up complete");
	return 0;
}
```

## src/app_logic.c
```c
/*
 * Zephyr_A - app_logic: batching and commands (part 3), batches go to
 * sparkplug and configuration commands come from NCMD (part 7).
 *
 * SPDX-License-Identifier: Apache-2.0
 */

#include <errno.h>
#include <stdio.h>
#include <stdlib.h>

#include <zephyr/kernel.h>
#include <zephyr/logging/log.h>

#include "app_logic.h"
#include "health.h"
#include "power.h"
#include "sensor.h"
#include "sparkplug.h"
#include "uplink.h"

LOG_MODULE_REGISTER(app_logic, CONFIG_APP_LOG_LEVEL);

BUILD_ASSERT(CONFIG_APP_BATCH_SIZE <= CONFIG_APP_BATCH_MAX,
	     "APP_BATCH_SIZE must not exceed APP_BATCH_MAX");

#define MIN_INTERVAL_MS 5000U  /* requirement: 5-15 s (same as Kconfig range) */
#define MAX_INTERVAL_MS 15000U

/* Queues owned by this module (producers use the submit functions).
 * K_MSGQ_DEFINE is already static in Zephyr 4.4.0. */
K_MSGQ_DEFINE(meas_q, sizeof(struct measurement), CONFIG_APP_SAMPLE_QUEUE_LEN, 8);
K_MSGQ_DEFINE(cmd_q, sizeof(struct app_cmd), 4, 8);

/* Shared configuration: written here (commands), read by the sensor thread. */
static K_MUTEX_DEFINE(config_lock);
static struct app_config config;

static void app_logic_thread(void *p1, void *p2, void *p3);

K_THREAD_DEFINE(app_logic_tid, CONFIG_APP_LOGIC_THREAD_STACK, app_logic_thread, NULL, NULL,
		NULL, CONFIG_APP_LOGIC_THREAD_PRIO, 0, SYS_FOREVER_MS);

/* Only touched by the app_logic thread. */
static struct measurement_batch batch;
static uint32_t batches_done;
static bool started;

/* "-12.345" style formatting of milli values without floating point. */
static int fmt_milli(char *buf, size_t size, int32_t milli)
{
	int64_t v = milli;
	const char *sign = (v < 0) ? "-" : "";

	v = (v < 0) ? -v : v;
	return snprintf(buf, size, "%s%lld.%03lld", sign, (long long)(v / 1000),
			(long long)(v % 1000));
}

static void log_measurement(const struct measurement *m)
{
	char line[192];
	int pos = 0;

	for (size_t i = 0; (i < m->count) && (pos < (int)sizeof(line)); i++) {
		const struct channel_value *cv = &m->values[i];
		char val[16];

		if (cv->quality == QUALITY_GOOD) {
			(void)fmt_milli(val, sizeof(val), cv->value_milli);
		} else {
			(void)snprintf(val, sizeof(val), "%s", value_quality_str(cv->quality));
		}

		const bool good = (cv->quality == QUALITY_GOOD);

		pos += snprintf(&line[pos], sizeof(line) - (size_t)pos, "%s%s=%s%s%s",
				(i > 0) ? ", " : "", app_sensor_channel_name(cv->channel), val,
				good ? " " : "", good ? app_sensor_channel_unit(cv->channel) : "");
	}

	if (m->quality == QUALITY_GOOD) {
		LOG_INF("meas #%u up=%lld ms%s: %s", m->seq, m->uptime_ms,
			m->simulated ? " (sim)" : "", line);
	} else {
		LOG_WRN("meas #%u up=%lld ms%s [%s]: %s", m->seq, m->uptime_ms,
			m->simulated ? " (sim)" : "", value_quality_str(m->quality), line);
	}
}

static void handle_measurement(const struct measurement *m, uint8_t batch_size)
{
	log_measurement(m);
	app_power_heartbeat(); /* LP-core supervisor: sampling pipeline alive */

	if (batch.count < CONFIG_APP_BATCH_MAX) {
		batch.items[batch.count++] = *m;
	}

	if (batch.count < batch_size) {
		return;
	}

	batches_done++;
	LOG_INF("Batch #%u ready: %u measurement(s), up %lld..%lld ms", batches_done,
		batch.count, batch.items[0].uptime_ms, batch.items[batch.count - 1].uptime_ms);

	int ret = sparkplug_submit_batch(&batch, K_NO_WAIT);

	if (ret != 0) {
		/* Queue full: MQTT has been down for longer than the queue covers */
		LOG_WRN("Batch #%u dropped - sparkplug queue full (MQTT down?)", batches_done);
	}
	batch.count = 0;
	uplink_notify_batch(); /* interval mode: may start an early uplink */
}

static void handle_command(const struct app_cmd *cmd)
{
	bool changed = false;

	k_mutex_lock(&config_lock, K_FOREVER);

	switch (cmd->type) {
	case APP_CMD_SET_SAMPLE_INTERVAL:
		if ((cmd->value < MIN_INTERVAL_MS) || (cmd->value > MAX_INTERVAL_MS)) {
			LOG_ERR("SECURITY: rejected sample interval %lld ms (allowed %u-%u)",
				cmd->value, MIN_INTERVAL_MS, MAX_INTERVAL_MS);
		} else {
			config.sample_interval_ms = (uint32_t)cmd->value;
			LOG_INF("Sample interval set to %u ms", config.sample_interval_ms);
			app_sensor_trigger(); /* sensor re-reads config and restarts timer */
			changed = true;
		}
		break;
	case APP_CMD_SET_BATCH_SIZE:
		if ((cmd->value < 1) || (cmd->value > CONFIG_APP_BATCH_MAX)) {
			LOG_ERR("SECURITY: rejected batch size %lld (allowed 1-%d)", cmd->value,
				CONFIG_APP_BATCH_MAX);
		} else {
			config.batch_size = (uint8_t)cmd->value;
			LOG_INF("Batch size set to %u", config.batch_size);
			changed = true;
		}
		break;
	case APP_CMD_REBIRTH:
	case APP_CMD_REBOOT:
		/* Session commands are executed by sparkplug itself */
		LOG_DBG("Command %u handled by sparkplug", cmd->type);
		break;
	default:
		LOG_ERR("Unknown command %u", cmd->type);
		break;
	}

	k_mutex_unlock(&config_lock);

	if (changed) {
		sparkplug_notify_config_changed(); /* report the new value (NDATA) */
	}
}

static void app_logic_thread(void *p1, void *p2, void *p3)
{
	ARG_UNUSED(p1);
	ARG_UNUSED(p2);
	ARG_UNUSED(p3);

	struct k_poll_event events[] = {
		K_POLL_EVENT_STATIC_INITIALIZER(K_POLL_TYPE_MSGQ_DATA_AVAILABLE,
						K_POLL_MODE_NOTIFY_ONLY, &meas_q, 0),
		K_POLL_EVENT_STATIC_INITIALIZER(K_POLL_TYPE_MSGQ_DATA_AVAILABLE,
						K_POLL_MODE_NOTIFY_ONLY, &cmd_q, 0),
	};

	while (true) {
		health_pause(HEALTH_APP_LOGIC);
		(void)k_poll(events, ARRAY_SIZE(events), K_FOREVER);
		health_feed(HEALTH_APP_LOGIC);

		struct app_cmd cmd;

		while (k_msgq_get(&cmd_q, &cmd, K_NO_WAIT) == 0) {
			handle_command(&cmd);
		}

		struct measurement m;
		struct app_config cfg;

		while (k_msgq_get(&meas_q, &m, K_NO_WAIT) == 0) {
			app_logic_get_config(&cfg);
			handle_measurement(&m, cfg.batch_size);
		}

		for (size_t i = 0; i < ARRAY_SIZE(events); i++) {
			events[i].state = K_POLL_STATE_NOT_READY;
		}
	}
}

int app_logic_init(void)
{
	k_mutex_lock(&config_lock, K_FOREVER);
	config.sample_interval_ms = CONFIG_APP_SAMPLE_INTERVAL_MS;
	config.batch_size = CONFIG_APP_BATCH_SIZE;
	k_mutex_unlock(&config_lock);

	LOG_INF("Config: sample interval %u ms, batch size %u", config.sample_interval_ms,
		config.batch_size);
	return 0;
}

int app_logic_start(void)
{
	if (started) {
		return -EALREADY;
	}
	started = true;
	k_thread_name_set(app_logic_tid, "app_logic");
	k_thread_start(app_logic_tid);
	return 0;
}

int app_logic_submit_measurement(const struct measurement *m, k_timeout_t timeout)
{
	return k_msgq_put(&meas_q, m, timeout);
}

int app_logic_submit_command(const struct app_cmd *cmd, k_timeout_t timeout)
{
	return k_msgq_put(&cmd_q, cmd, timeout);
}

void app_logic_get_config(struct app_config *out)
{
	k_mutex_lock(&config_lock, K_FOREVER);
	*out = config;
	k_mutex_unlock(&config_lock);
}
```
